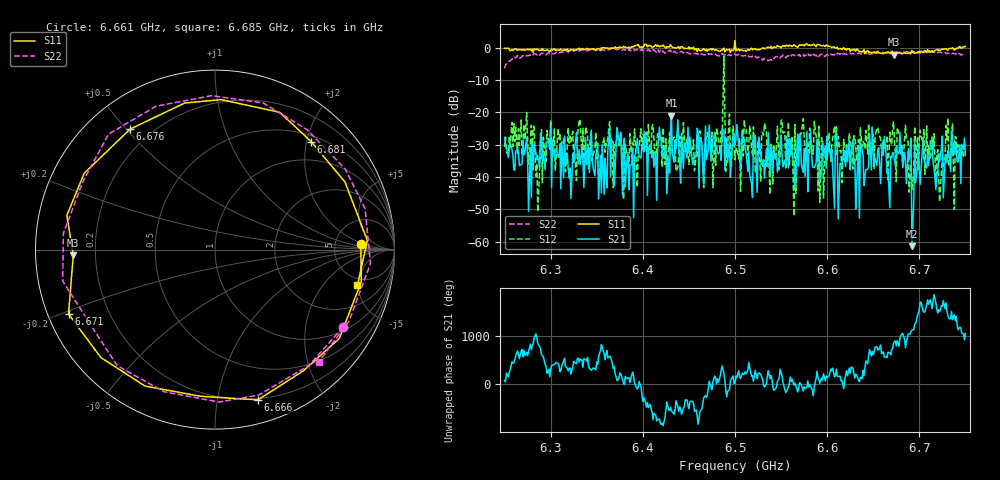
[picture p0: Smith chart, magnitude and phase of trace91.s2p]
# Hz S RI R 50
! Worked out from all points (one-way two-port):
!   401 points, 6.25 GHz to 6.75 GHz, reference 50 ohm
!   highest |S21| = -21.05 dB at 6.431 GHz (marker M1); lowest = -61.4 dB at 6.692 GHz (marker M2)
!   lowest |S11| = -2.0 dB at 6.672 GHz (marker M3), VSWR 8.53, Z = 5.86 - j0.97 ohm
!   |S11| at or under -10 dB: nowhere
!   |S22| runs from -6.3 to -0.2 dB; largest |S21 - S12| = 0.79
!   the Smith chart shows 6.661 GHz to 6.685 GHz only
!   S11 on the Smith chart (normalised r, x): 6.661 GHz: 9.38, +1.72; 6.666 GHz: 0.19, -1.31; 6.671 GHz: 0.06, -0.21; 6.676 GHz: 0.12, +0.51; 6.681 GHz: 0.61, +2.08; 6.685 GHz: 4.02, -4.84
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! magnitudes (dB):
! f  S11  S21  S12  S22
! 6.25 GHz  -0.1  -27.8  -30.7  -6.3
! 6.28 GHz  -0.4  -29.6  -33.8  -2.3
! 6.286 GHz  -0.5  -33.3  -50.8  -1.8
! 6.334 GHz  -0.2  -31.7  -33.6  -0.6
! 6.381 GHz  0.3  -43.1  -30.0  -0.7
! 6.418 GHz  0.4  -24.6  -27.7  -1.3
! 6.431 GHz  0.4  -21.0  -26.8  -1.5
! 6.5 GHz  2.3  -30.1  -34.7  -1.9
! 6.516 GHz  -0.7  -39.2  -24.3  -2.7
! 6.584 GHz  0.9  -36.7  -31.5  -2.7
! 6.626 GHz  -0.7  -32.6  -30.3  -1.9
! 6.632 GHz  -0.3  -42.6  -35.0  -1.8
! 6.661 GHz  -1.8  -33.2  -28.6  -1.6
! 6.666 GHz  -1.2  -37.5  -40.9  -1.5
! 6.668 GHz  -1.7  -49.5  -26.2  -1.5
! 6.671 GHz  -1.0  -32.4  -24.9  -1.4
! 6.672 GHz  -2.0  -32.7  -22.8  -1.6
! 6.676 GHz  -1.7  -32.1  -24.7  -1.3
! 6.681 GHz  -1.9  -30.2  -30.7  -1.2
! 6.685 GHz  -1.7  -34.8  -23.9  -1.4
! 6.692 GHz  -0.8  -61.4  -43.9  -1.5
! 6.75 GHz  0.5  -33.3  -29.9  -2.2
